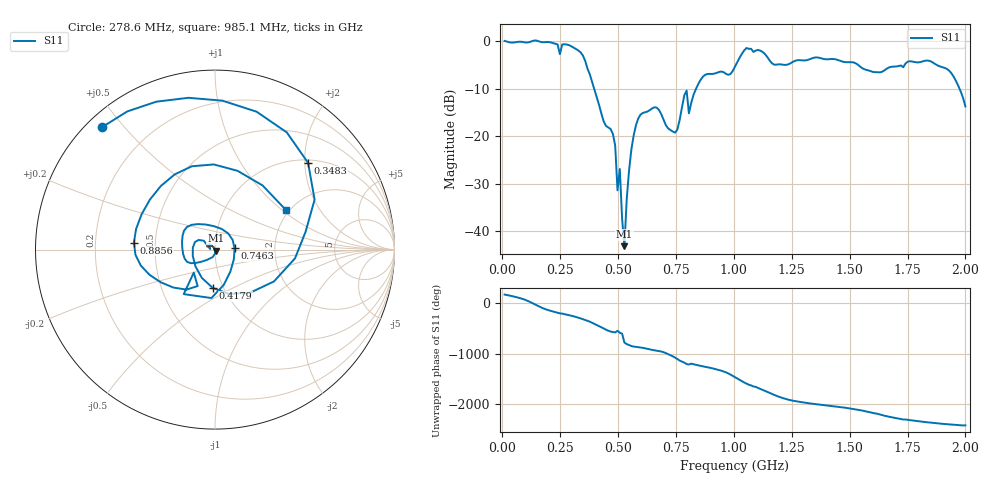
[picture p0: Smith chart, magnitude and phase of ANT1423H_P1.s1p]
!Created with skrf (http://scikit-rf.org).
# Hz S RI R 50.0
!freq ReS11 ImS11
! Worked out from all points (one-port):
!   201 points, 10 MHz to 2 GHz, reference 50 ohm
!   lowest |S11| = -43.2 dB at 527.4 MHz (marker M1), VSWR 1.01, Z = 50.4 - j0.596 ohm
!   |S11| at or under -10 dB: 397 MHz to 836.5 MHz (439.6 MHz wide, 71.3 % of centre); 1.975 GHz to end of sweep
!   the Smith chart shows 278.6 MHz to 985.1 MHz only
!   S11 on the Smith chart (normalised r, x): 278.6 MHz: 0.04, +0.44; 348.3 MHz: 1.07, +2.08; 417.9 MHz: 0.89, -0.40; 746.3 MHz: 1.24, +0.02; 885.6 MHz: 0.38, +0.04; 985.1 MHz: 1.92, +1.06
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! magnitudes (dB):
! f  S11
! 10 MHz  0.1
! 258.8 MHz  -0.6
! 278.6 MHz  -0.7
! 348.3 MHz  -3.0
! 417.9 MHz  -13.4
! 477.6 MHz  -19.5
! 487.6 MHz  -22.0
! 497.6 MHz  -31.4
! 507.5 MHz  -26.9
! 517.5 MHz  -37.4
! 527.4 MHz  -43.2
! 547.3 MHz  -27.3
! 587.1 MHz  -16.2
! 666.7 MHz  -13.9
! 746.3 MHz  -19.2
! 756.2 MHz  -18.6
! 796 MHz  -10.4
! 806 MHz  -15.2
! 885.6 MHz  -6.9
! 985.1 MHz  -6.9
! 1.005 GHz  -5.3
! 1.055 GHz  -1.4
! 1.254 GHz  -4.3
! 1.502 GHz  -4.4
! 1.632 GHz  -6.5
! 1.751 GHz  -4.3
! 1.93 GHz  -6.2
! 2 GHz  -13.7
